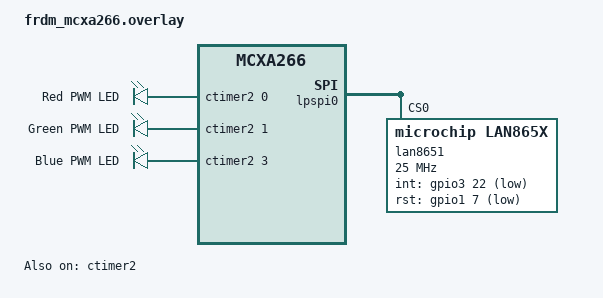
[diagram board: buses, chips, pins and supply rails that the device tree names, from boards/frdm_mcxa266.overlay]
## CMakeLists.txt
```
# SPDX-License-Identifier: Apache-2.0

cmake_minimum_required(VERSION 3.20.0)

find_package(Zephyr REQUIRED HINTS $ENV{ZEPHYR_BASE})
project(t1s_device)

target_sources(app PRIVATE src/main.c)

# Iterable section for the HTTP resources of our service (see main.c).
zephyr_linker_sources(SECTIONS sections-rom.ld)
zephyr_linker_section(NAME http_resource_desc_t1s_http_service
  KVMA RAM_REGION GROUP RODATA_REGION
)

# Embed the dashboard, gzipped, into flash.
set(gen_dir ${ZEPHYR_BINARY_DIR}/include/generated/)
generate_inc_file_for_target(app web/index.html ${gen_dir}/index.html.gz.inc --gzip)
```

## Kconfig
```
mainmenu "T1S Device — RGB LED dashboard node"

# MCXA266's vector table needs 0x400 alignment (large IRQ count), but the
# default MCUboot header reservation is only 0x200. The linker then pads
# 0x200 of zeros between header and vectors, while imgtool stamps 0x200 as
# the header size — so MCUboot jumps into the padding and the app hardfaults
# in a reset loop. Reserve a full 0x400 so header size == vector offset.
config ROM_START_OFFSET
	hex
	default 0x400 if BOOTLOADER_MCUBOOT

config APP_DEVICE_NAME
	string "Device name shown on the dashboard"
	default "MCXA266-A"
	help
	  Display name this node reports over the WebSocket state message.
	  Give each board on the segment a distinct name.

source "Kconfig.zephyr"
```

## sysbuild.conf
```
# Build MCUboot as the bootloader and sign the app image for slot0.
# Uses the default swap-with-move algorithm and (for now) the Zephyr
# development signing key — replace via SB_CONFIG_BOOT_SIGNATURE_KEY_FILE
# before any real deployment.
SB_CONFIG_BOOTLOADER_MCUBOOT=y
```

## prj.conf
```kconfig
CONFIG_NETWORKING=y
CONFIG_NET_L2_ETHERNET=y
CONFIG_NET_IPV6=n
CONFIG_NET_IPV4=y
CONFIG_NET_ARP=y
CONFIG_NET_UDP=y
CONFIG_NET_TCP=y
CONFIG_NET_SOCKETS=y

CONFIG_NET_MGMT=y
CONFIG_NET_MGMT_EVENT=y
CONFIG_NET_MGMT_EVENT_INFO=y

# Periodic gratuitous ARP (RFC 5227). Windows parks unanswered neighbors in
# an "Unreachable" backoff state and then silently refuses to transmit to
# them (observed: SMP/UDP requests dropped before the wire until the device
# pings the PC). The periodic GARP re-seeds the PC's neighbor entry so the
# dashboard/smpmgr work without a manual warm-up ping.
CONFIG_NET_ARP_GRATUITOUS=y
CONFIG_NET_ARP_GRATUITOUS_TRANSMISSION=y
CONFIG_NET_ARP_GRATUITOUS_INTERVAL=20

CONFIG_NET_CONFIG_SETTINGS=y
CONFIG_NET_CONFIG_NEED_IPV4=y
CONFIG_NET_CONFIG_MY_IPV4_ADDR="192.0.2.100"
CONFIG_NET_CONFIG_MY_IPV4_NETMASK="255.255.255.0"
CONFIG_NET_CONFIG_MY_IPV4_GW="192.0.2.1"

CONFIG_ETH_LAN865X=y

# RGB LED on CTIMER2 PWM channels
CONFIG_PWM=y

# HTTP server + WebSocket serving the LIGHT STUDIO dashboard
CONFIG_HTTP_SERVER=y
CONFIG_HTTP_SERVER_WEBSOCKET=y
CONFIG_WEBSOCKET_MAX_CONTEXTS=4
CONFIG_JSON_LIBRARY=y
# Larger body chunks for the firmware upload (fewer handler round-trips)
CONFIG_HTTP_SERVER_CLIENT_BUFFER_SIZE=1024

# Browsers reconnect aggressively; don't hold sockets in TIME_WAIT
CONFIG_NET_TCP_TIME_WAIT_DELAY=0

# --- Firmware update over HTTP: POST /firmware streams the signed image
# into slot1 (flash_img), marks it for test boot, then reboots. MCUboot
# validates/swaps; the app self-confirms once the web server is up.
CONFIG_FLASH=y
CONFIG_FLASH_MAP=y
CONFIG_STREAM_FLASH=y
CONFIG_IMG_MANAGER=y
CONFIG_MCUBOOT_IMG_MANAGER=y
CONFIG_IMG_ERASE_PROGRESSIVELY=y
CONFIG_REBOOT=y

# HTTP server + 3 WS clients + TCP all need fds/poll entries
CONFIG_ZVFS_OPEN_MAX=16
CONFIG_ZVFS_POLL_MAX=16

CONFIG_TEST_RANDOM_GENERATOR=y

CONFIG_MAIN_STACK_SIZE=3072
CONFIG_SYSTEM_WORKQUEUE_STACK_SIZE=2048
CONFIG_HEAP_MEM_POOL_SIZE=8192

# Pools sized for a few parallel browser TCP connections + WS streams
CONFIG_NET_PKT_RX_COUNT=16
CONFIG_NET_PKT_TX_COUNT=16
CONFIG_NET_BUF_RX_COUNT=48
CONFIG_NET_BUF_TX_COUNT=48
CONFIG_NET_BUF_DATA_SIZE=128
CONFIG_NET_MAX_CONTEXTS=10
CONFIG_NET_MAX_CONN=10

CONFIG_LOG=y
CONFIG_PRINTK=y
CONFIG_LOG_DEFAULT_LEVEL=3

# Debug instrumentation: `net stats` on the shell shows per-protocol
# RX/TX/drop counters (ICMP included) to localize packet loss.
CONFIG_NET_STATISTICS=y
CONFIG_NET_STATISTICS_USER_API=y
```

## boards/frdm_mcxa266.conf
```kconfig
CONFIG_NET_CONFIG_MY_IPV4_ADDR="2.2.2.7"
CONFIG_NET_CONFIG_MY_IPV4_NETMASK="255.255.255.0"
CONFIG_NET_CONFIG_MY_IPV4_GW="2.2.2.2"

CONFIG_SHELL=y
CONFIG_SHELL_BACKEND_SERIAL=y
CONFIG_NET_SHELL=y
```

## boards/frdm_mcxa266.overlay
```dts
#include <zephyr/dt-bindings/gpio/arduino-header-r3.h>
#include <zephyr/dt-bindings/pwm/pwm.h>

/*
 * LAN8651 (10BASE-T1S) on the FRDM-MCXA266 mikroBUS/Arduino header via LPSPI0.
 * Same wiring as the lan8651_t1s_demo project.
 *
 * The on-board RGB LED is driven by PWM instead of GPIO. All three LED pins
 * mux to CTIMER2 match outputs, so one timer covers full-color mixing:
 *
 *   red   P3_18 -> CT2_MAT0  (PWM channel 0)
 *   green P3_19 -> CT2_MAT1  (PWM channel 1)
 *   blue  P3_21 -> CT2_MAT3  (PWM channel 3)
 *
 * Channel 2 (MAT2) stays unused so the PWM driver can claim it as the shared
 * period register.
 *
 * Polarity: the CTimer PWM output is LOW from cycle start until the match
 * value (= pulse cycles), then HIGH until the period resets. With the
 * active-low LEDs that means LED on-time == pulse cycles, so NORMAL polarity
 * already gives "pulse = brightness". (PWM_POLARITY_INVERTED would make the
 * driver program a never-firing match at 0% duty, parking the pin LOW and
 * latching the LED fully on.)
 */

/ {
	aliases {
		ethernet0 = &lan8651;
	};

	pwmleds {
		compatible = "pwm-leds";

		red_pwm_led: red_pwm_led {
			pwms = <&ctimer2 0 PWM_KHZ(1) PWM_POLARITY_NORMAL>;
			label = "Red PWM LED";
		};

		green_pwm_led: green_pwm_led {
			pwms = <&ctimer2 1 PWM_KHZ(1) PWM_POLARITY_NORMAL>;
			label = "Green PWM LED";
		};

		blue_pwm_led: blue_pwm_led {
			pwms = <&ctimer2 3 PWM_KHZ(1) PWM_POLARITY_NORMAL>;
			label = "Blue PWM LED";
		};
	};
};

&pinctrl {
	pinmux_ctimer2_rgb: pinmux_ctimer2_rgb {
		group0 {
			pinmux = <CT2_MAT0_P3_18>,
				 <CT2_MAT1_P3_19>,
				 <CT2_MAT3_P3_21>;
			drive-strength = "low";
			slew-rate = "fast";
		};
	};
};

&ctimer2 {
	compatible = "nxp,ctimer-pwm";
	status = "okay";
	pinctrl-0 = <&pinmux_ctimer2_rgb>;
	pinctrl-names = "default";
	#pwm-cells = <3>;
};

&lpspi0 {
	status = "okay";
	pinctrl-names = "default";

	lan8651: lan865x@0 {
		compatible = "microchip,lan865x";
		reg = <0>;
		spi-max-frequency = <25000000>;
		int-gpios = <&gpio3 22 (GPIO_ACTIVE_LOW | GPIO_PULL_UP)>;
		rst-gpios = <&gpio1 7 GPIO_ACTIVE_LOW>;
		local-mac-address = [02 00 5e 10 02 66];
		phy-handle = <&lan8651_phy>;

		lan8651_mdio: lan8651_mdio {
			compatible = "microchip,lan865x-mdio";
			#address-cells = <1>;
			#size-cells = <0>;
			status = "okay";

			lan8651_phy: ethernet-phy@0 {
				compatible = "microchip,t1s-phy";
				reg = <0>;
				plca-enable;
				plca-node-id = <2>;
				plca-node-count = <8>;
				plca-burst-count = <0>;
				plca-burst-timer = <0x80>;
				plca-to-timer = <0x20>;
				status = "okay";
			};
		};

		status = "okay";
	};
};
```

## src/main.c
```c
/*
 * SPDX-License-Identifier: Apache-2.0
 *
 * t1s_device: 10BASE-T1S node (LAN8651) that serves the LIGHT STUDIO
 * dashboard and drives the on-board RGB LED via PWM.
 *
 * - GET /    -> gzipped single-file dashboard (web/index.html)
 * - GET /ws  -> WebSocket. On connect the device pushes its state:
 *                 {"name":"...","plca":N,"r":..,"g":..,"b":..}
 *               The browser sends {"r":..,"g":..,"b":..} to set the LED
 *               (PWM duty 0-255 per channel). State changes are rebroadcast
 *               to the other connected clients so all open tabs stay in sync.
 *
 * The dashboard discovers devices by probing each candidate IP on the T1S
 * segment, so only nodes that accept the WebSocket appear as cards.
 */

#include <zephyr/kernel.h>
#include <zephyr/logging/log.h>
#include <zephyr/drivers/pwm.h>
#include <zephyr/data/json.h>
#include <zephyr/net/net_if.h>
#include <zephyr/net/socket.h>
#include <zephyr/net/websocket.h>
#include <zephyr/net/http/server.h>
#include <zephyr/net/http/service.h>
#if defined(CONFIG_MCUBOOT_IMG_MANAGER)
#include <zephyr/dfu/mcuboot.h>
#include <zephyr/dfu/flash_img.h>
#include <zephyr/sys/reboot.h>
#endif
#include <app_version.h>

/* The LAN865x driver sends a frame only if it fits the chip's free TX
 * chunk credit in one shot (oa_tc6_send_chunks: chunks > txc -> -EIO,
 * no retry). Full-size 1514-byte frames need 24x 64-byte chunks and get
 * dropped deterministically, while small frames pass. Clamp the MTU so
 * TCP advertises an MSS whose segments always fit; this also makes the
 * peer send small segments toward us (its MSS comes from our SYN/ACK),
 * keeping the bridge's T1S egress under the same limit.
 */
#define T1S_SAFE_MTU 576

LOG_MODULE_REGISTER(t1s_device, LOG_LEVEL_INF);

#define PLCA_NODE_ID DT_PROP(DT_NODELABEL(lan8651_phy), plca_node_id)

/* ----------------------------- RGB LED (PWM) ----------------------------- */

static const struct pwm_dt_spec led_pwm[3] = {
	PWM_DT_SPEC_GET(DT_NODELABEL(red_pwm_led)),
	PWM_DT_SPEC_GET(DT_NODELABEL(green_pwm_led)),
	PWM_DT_SPEC_GET(DT_NODELABEL(blue_pwm_led)),
};

static K_MUTEX_DEFINE(state_lock);
static uint8_t rgb[3];

static void rgb_apply(void)
{
	for (int i = 0; i < 3; i++) {
		uint32_t pulse = (uint32_t)(((uint64_t)led_pwm[i].period * rgb[i]) / 255U);
		int ret = pwm_set_pulse_dt(&led_pwm[i], pulse);

		if (ret < 0) {
			LOG_ERR("pwm_set_pulse_dt(ch %d) failed: %d", i, ret);
		}
	}
}

/* ------------------------------- WebSocket ------------------------------- */

#define WS_MAX_CLIENTS    3
#define WS_THREAD_STACK   2560
#define WS_RX_BUF_SIZE    128

static int ws_clients[WS_MAX_CLIENTS] = { -1, -1, -1 };
static struct k_thread ws_threads[WS_MAX_CLIENTS];
K_THREAD_STACK_ARRAY_DEFINE(ws_stacks, WS_MAX_CLIENTS, WS_THREAD_STACK);

struct rgb_cmd {
	int r;
	int g;
	int b;
};

static const struct json_obj_descr rgb_cmd_descr[] = {
	JSON_OBJ_DESCR_PRIM(struct rgb_cmd, r, JSON_TOK_NUMBER),
	JSON_OBJ_DESCR_PRIM(struct rgb_cmd, g, JSON_TOK_NUMBER),
	JSON_OBJ_DESCR_PRIM(struct rgb_cmd, b, JSON_TOK_NUMBER),
};

static int state_json(char *buf, size_t len)
{
	return snprintk(buf, len,
			"{\"name\":\"%s\",\"ver\":\"" APP_VERSION_STRING "\","
			"\"plca\":%u,\"r\":%u,\"g\":%u,\"b\":%u}",
			CONFIG_APP_DEVICE_NAME, (unsigned int)PLCA_NODE_ID,
			rgb[0], rgb[1], rgb[2]);
}

/* Callers hold state_lock: serializes both the state snapshot and the
 * socket write (broadcasts may run from any client thread).
 */
static void ws_send_state(int sock)
{
	char buf[128];
	int len = state_json(buf, sizeof(buf));
	int ret = websocket_send_msg(sock, buf, len, WEBSOCKET_OPCODE_DATA_TEXT,
				     false, true, SYS_FOREVER_MS);

	if (ret < 0) {
		LOG_DBG("ws send to %d failed: %d", sock, ret);
	}
}

static void ws_broadcast_state(int except_sock)
{
	for (int i = 0; i < WS_MAX_CLIENTS; i++) {
		if (ws_clients[i] >= 0 && ws_clients[i] != except_sock) {
			ws_send_state(ws_clients[i]);
		}
	}
}

static void ws_client_thread(void *p1, void *p2, void *p3)
{
	int slot = POINTER_TO_INT(p1);
	int sock = ws_clients[slot];
	uint8_t buf[WS_RX_BUF_SIZE];
	struct zsock_pollfd fds = { .fd = sock, .events = ZSOCK_POLLIN };

	ARG_UNUSED(p2);
	ARG_UNUSED(p3);

	k_mutex_lock(&state_lock, K_FOREVER);
	ws_send_state(sock);
	k_mutex_unlock(&state_lock);

	while (true) {
		struct rgb_cmd cmd;
		uint64_t remaining = 0;
		uint32_t msg_type = 0;
		int len;
		int ret;

		if (zsock_poll(&fds, 1, -1) < 0) {
			break;
		}

		if (fds.revents & (ZSOCK_POLLHUP | ZSOCK_POLLERR)) {
			break;
		}

		len = websocket_recv_msg(sock, buf, sizeof(buf) - 1, &msg_type,
					 &remaining, 0);
		if (len < 0) {
			if (len == -EAGAIN) {
				continue;
			}
			break;
		}

		if (msg_type & WEBSOCKET_FLAG_CLOSE) {
			/* Complete the close handshake so well-behaved
			 * clients don't hang waiting for the close ack.
			 */
			(void)websocket_send_msg(sock, buf, len,
						 WEBSOCKET_OPCODE_CLOSE, false,
						 true, SYS_FOREVER_MS);
			break;
		}

		if (msg_type & WEBSOCKET_FLAG_PING) {
			(void)websocket_send_msg(sock, buf, len,
						 WEBSOCKET_OPCODE_PONG, false,
						 true, SYS_FOREVER_MS);
			continue;
		}

		if (len == 0 || !(msg_type & (WEBSOCKET_FLAG_TEXT | WEBSOCKET_FLAG_BINARY))) {
			continue;
		}
		buf[len] = '\0';

		ret = json_obj_parse((char *)buf, len, rgb_cmd_descr,
				     ARRAY_SIZE(rgb_cmd_descr), &cmd);
		if (ret != BIT_MASK(ARRAY_SIZE(rgb_cmd_descr))) {
			LOG_WRN("ws[%d]: bad message (%d): %s", slot, ret, buf);
			continue;
		}

		k_mutex_lock(&state_lock, K_FOREVER);
		rgb[0] = (uint8_t)CLAMP(cmd.r, 0, 255);
		rgb[1] = (uint8_t)CLAMP(cmd.g, 0, 255);
		rgb[2] = (uint8_t)CLAMP(cmd.b, 0, 255);
		rgb_apply();
		ws_broadcast_state(sock);
		k_mutex_unlock(&state_lock);
	}

	LOG_INF("ws[%d]: connection closed", slot);

	(void)websocket_unregister(sock);
	ws_clients[slot] = -1;
}

static int ws_setup_cb(int ws_socket, struct http_request_ctx *request_ctx, void *user_data)
{
	int slot;

	ARG_UNUSED(request_ctx);
	ARG_UNUSED(user_data);

	for (slot = 0; slot < WS_MAX_CLIENTS; slot++) {
		if (ws_clients[slot] < 0) {
			break;
		}
	}

	if (slot == WS_MAX_CLIENTS) {
		LOG_WRN("ws: no free client slot");
		return -ENOENT;
	}

	ws_clients[slot] = ws_socket;

	k_thread_create(&ws_threads[slot], ws_stacks[slot],
			K_THREAD_STACK_SIZEOF(ws_stacks[slot]),
			ws_client_thread, INT_TO_POINTER(slot), NULL, NULL,
			K_PRIO_PREEMPT(8), 0, K_NO_WAIT);
	k_thread_name_set(&ws_threads[slot], "ws_client");

	LOG_INF("ws[%d]: client connected", slot);

	return 0;
}

/* -------------------------- Firmware upload (OTA) ------------------------ */

#if defined(CONFIG_MCUBOOT_IMG_MANAGER)

static struct flash_img_context fw_ctx;
static bool fw_in_progress;
static size_t fw_received;

static void fw_reboot_handler(struct k_work *work)
{
	ARG_UNUSED(work);
	LOG_INF("Rebooting to apply firmware update");
	sys_reboot(SYS_REBOOT_COLD);
}

/* Delay the reboot so the HTTP response reaches the browser first. */
static K_WORK_DELAYABLE_DEFINE(fw_reboot_work, fw_reboot_handler);

static void fw_abort(void)
{
	fw_in_progress = false;
	fw_received = 0;
}

static int firmware_handler(struct http_client_ctx *client, enum http_transaction_status status,
			    const struct http_request_ctx *request_ctx,
			    struct http_response_ctx *response_ctx, void *user_data)
{
	static char resp[64];
	bool final = (status == HTTP_SERVER_REQUEST_DATA_FINAL);
	int ret;

	ARG_UNUSED(client);
	ARG_UNUSED(user_data);

	if (status == HTTP_SERVER_TRANSACTION_ABORTED) {
		LOG_WRN("Firmware upload aborted after %zu bytes", fw_received);
		fw_abort();
		return 0;
	}

	if (status == HTTP_SERVER_TRANSACTION_COMPLETE) {
		return 0;
	}

	if (!fw_in_progress) {
		ret = flash_img_init(&fw_ctx);
		if (ret < 0) {
			LOG_ERR("flash_img_init failed: %d", ret);
			goto error;
		}
		fw_in_progress = true;
		fw_received = 0;
		LOG_INF("Firmware upload started");
	}

	if (request_ctx->data_len > 0) {
		ret = flash_img_buffered_write(&fw_ctx, request_ctx->data,
					       request_ctx->data_len, final);
		if (ret < 0) {
			LOG_ERR("flash write failed at %zu bytes: %d", fw_received, ret);
			goto error;
		}
		fw_received += request_ctx->data_len;
	}

	if (final) {
		/* Allow the dashboard served from ANOTHER node to read the
		 * result (cross-origin upload to this device).
		 */
		static const struct http_header cors = {
			.name = "Access-Control-Allow-Origin", .value = "*",
		};
		size_t total = fw_received;

		response_ctx->headers = &cors;
		response_ctx->header_count = 1;

		fw_abort();

		/* Mark slot1 for a TEST boot (not permanent): MCUboot swaps it
		 * in once; if the new image never confirms itself, the next
		 * reboot restores the current firmware.
		 */
		ret = boot_request_upgrade(BOOT_UPGRADE_TEST);
		if (ret < 0) {
			LOG_ERR("boot_request_upgrade failed: %d", ret);
			goto error;
		}

		LOG_INF("Firmware received (%zu bytes), marked for test boot", total);

		ret = snprintk(resp, sizeof(resp), "{\"ok\":true,\"bytes\":%zu}", total);
		response_ctx->body = (uint8_t *)resp;
		response_ctx->body_len = ret;
		response_ctx->final_chunk = true;

		k_work_schedule(&fw_reboot_work, K_SECONDS(2));
	}

	return 0;

error:
	fw_abort();
	ret = snprintk(resp, sizeof(resp), "{\"ok\":false}");
	response_ctx->body = (uint8_t *)resp;
	response_ctx->body_len = ret;
	response_ctx->final_chunk = true;
	return 0;
}

static struct http_resource_detail_dynamic fw_resource_detail = {
	.common = {
		.type = HTTP_RESOURCE_TYPE_DYNAMIC,
		.bitmask_of_supported_http_methods = BIT(HTTP_POST),
	},
	.cb = firmware_handler,
};

#endif /* CONFIG_MCUBOOT_IMG_MANAGER */

/* ------------------------------ HTTP service ----------------------------- */

static const uint8_t index_html_gz[] = {
#include "index.html.gz.inc"
};

static struct http_resource_detail_static index_html_gz_resource_detail = {
	.common = {
		.type = HTTP_RESOURCE_TYPE_STATIC,
		.bitmask_of_supported_http_methods = BIT(HTTP_GET),
		.content_encoding = "gzip",
		.content_type = "text/html",
	},
	.static_data = index_html_gz,
	.static_data_len = sizeof(index_html_gz),
};

static uint8_t ws_upgrade_buf[256];

static struct http_resource_detail_websocket ws_resource_detail = {
	.common = {
		.type = HTTP_RESOURCE_TYPE_WEBSOCKET,
		/* HTTP/1.1 GET is used for the upgrade handshake */
		.bitmask_of_supported_http_methods = BIT(HTTP_GET),
	},
	.cb = ws_setup_cb,
	.data_buffer = ws_upgrade_buf,
	.data_buffer_len = sizeof(ws_upgrade_buf),
};

static uint16_t http_port = 80;

HTTP_SERVICE_DEFINE(t1s_http_service, NULL, &http_port,
		    CONFIG_HTTP_SERVER_MAX_CLIENTS, 10, NULL, NULL, NULL);

HTTP_RESOURCE_DEFINE(index_resource, t1s_http_service, "/",
		     &index_html_gz_resource_detail);

HTTP_RESOURCE_DEFINE(ws_resource, t1s_http_service, "/ws", &ws_resource_detail);

#if defined(CONFIG_MCUBOOT_IMG_MANAGER)
HTTP_RESOURCE_DEFINE(fw_resource, t1s_http_service, "/firmware", &fw_resource_detail);
#endif

/* --------------------------------- main ---------------------------------- */

int main(void)
{
	for (int i = 0; i < 3; i++) {
		if (!pwm_is_ready_dt(&led_pwm[i])) {
			LOG_ERR("PWM channel %d not ready", i);
			return -ENODEV;
		}
	}

	rgb_apply(); /* LED off at boot */

	net_if_set_mtu(net_if_get_default(), T1S_SAFE_MTU);

	http_server_start();

#if defined(CONFIG_MCUBOOT_IMG_MANAGER)
	/* We reached the point where the device is serving: confirm this image
	 * so MCUboot doesn't revert it on the next reboot. After an OTA update
	 * this runs in the swapped-in image — if it never gets here (e.g. the
	 * new firmware crashes before networking is up), the old image comes
	 * back automatically.
	 */
	if (!boot_is_img_confirmed()) {
		int ret = boot_write_img_confirmed();

		if (ret < 0) {
			LOG_ERR("Failed to confirm image: %d", ret);
		} else {
			LOG_INF("Image confirmed (will not revert)");
		}
	}
#endif

	LOG_INF("T1S device '%s' (PLCA node %u) — dashboard on http://<this-ip>/",
		CONFIG_APP_DEVICE_NAME, (unsigned int)PLCA_NODE_ID);

	return 0;
}
```
